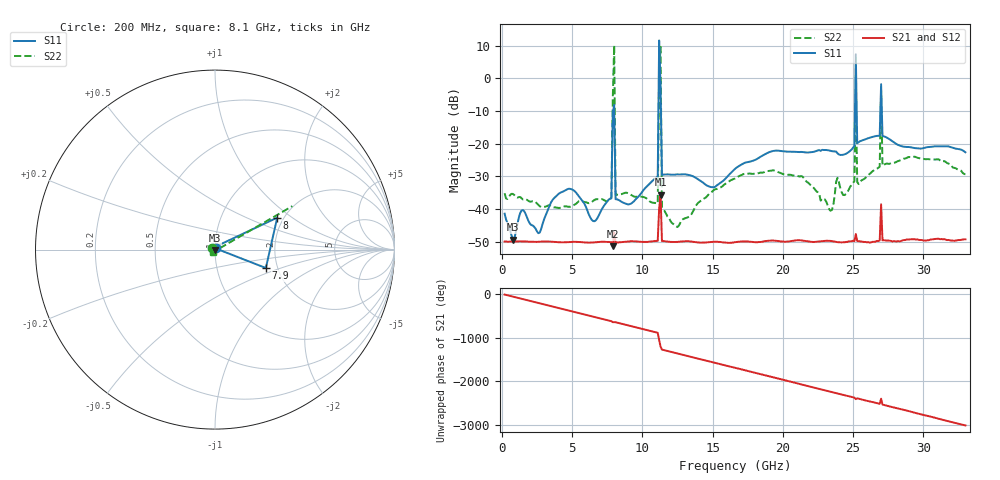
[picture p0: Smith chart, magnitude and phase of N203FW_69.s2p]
# GHZ S RI R 50
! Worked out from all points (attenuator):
!   329 points, 200 MHz to 33 GHz, reference 50 ohm
!   highest |S21| = -35.57 dB at 11.3 GHz (marker M1); lowest = -51.4 dB at 7.9 GHz (marker M2)
!   lowest |S11| = -49.3 dB at 800 MHz (marker M3), VSWR 1.01, Z = 49.9 - j0.337 ohm
!   |S11| at or under -10 dB: start of sweep to 7.919 GHz; 11.33 GHz to 25.14 GHz (13.81 GHz wide, 75.7 % of centre); 27.05 GHz to end of sweep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
!   |S22| runs from -45.5 to 10.1 dB; largest |S21 - S12| = 0.019
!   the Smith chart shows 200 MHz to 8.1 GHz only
!   S11 on the Smith chart (normalised r, x): 200 MHz: 1.01, +0.01; 7.9 GHz: 1.73, -0.39; 8 GHz: 1.85, +0.78; 8.1 GHz: 0.99, +0.03
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0.2  0.00563 0.00635  0.00305 -0.000894  0.00306 -0.000887  -0.0143 0.00996
0.8  -0.000511 -0.00338  0.00139 -0.00287  0.00138 -0.00287  -0.0134 0.0105
5.7  0.00607 0.0122  -0.000449 -0.00308  -0.000466 -0.00308  0.00626 -0.0115
7.8  -0.00904 0.0114  -0.000207 0.0031  -0.000215 0.00311  -0.00824 -0.0124
7.9  0.2833 -0.1026  0.000857 0.00256  0.000849 0.00247  0.4307 0.242
8  0.3467 0.1779  0.00125 0.00421  0.000546 0.00599  2.688 1.714
8.1  -0.00262 0.0139  0.00104 0.0029  0.00105 0.0029  -0.0111 -0.0121
11.1  0.00353 0.0311  -0.00322 -0.00053  -0.00321 -0.000527  -0.0112 0.00478
11.2  2.685 2.664  0.00923 0.004  0.0168 0.0218  -0.7224 -0.8944
11.3  0.6895 0.3827  -0.00962 -0.0136  -0.0106 -0.0109  0.4079 2.988
11.4  0.021 0.0257  -0.00312 0.000887  -0.00312 0.000895  -0.00914 0.00531
16.6  -0.0338 0.0234  -0.00105 0.00293  -0.00105 0.00293  -0.0291 0.004
22.1  -0.0314 -0.0674  0.00284 0.00134  0.00285 0.00134  0.0204 0.00871
23.4  -0.0082 0.0772  0.000583 -0.0032  0.000568 -0.0032  0.00864 -0.00371
25.1  -0.0409 -0.0825  -0.00266 0.00183  -0.00269 0.00184  -0.0248 -0.00975
25.2  2.23 0.6517  -0.00142 0.00388  -0.00123 0.00391  0.2896 0.522
25.3  -0.0774 -0.0655  -0.00205 0.00251  -0.00203 0.0025  -0.0254 -0.00466
26.9  0.061 0.1171  0.0033 0.000209  0.00325 0.000177  -0.0399 0.0192
27  0.6034 -0.54  -0.00618 0.0101  -0.00134 0.000607  -0.4136 0.4685
27.1  0.0975 0.0871  0.00322 -0.000759  0.00321 -0.00078  -0.0393 0.0242
27.6  0.1141 -0.0237  0.00184 -0.00272  0.00188 -0.00269  -0.0357 0.0339
33  0.0193 0.0712  -0.00225 -0.0026  -0.00225 -0.00257  0.0329 0.00847
